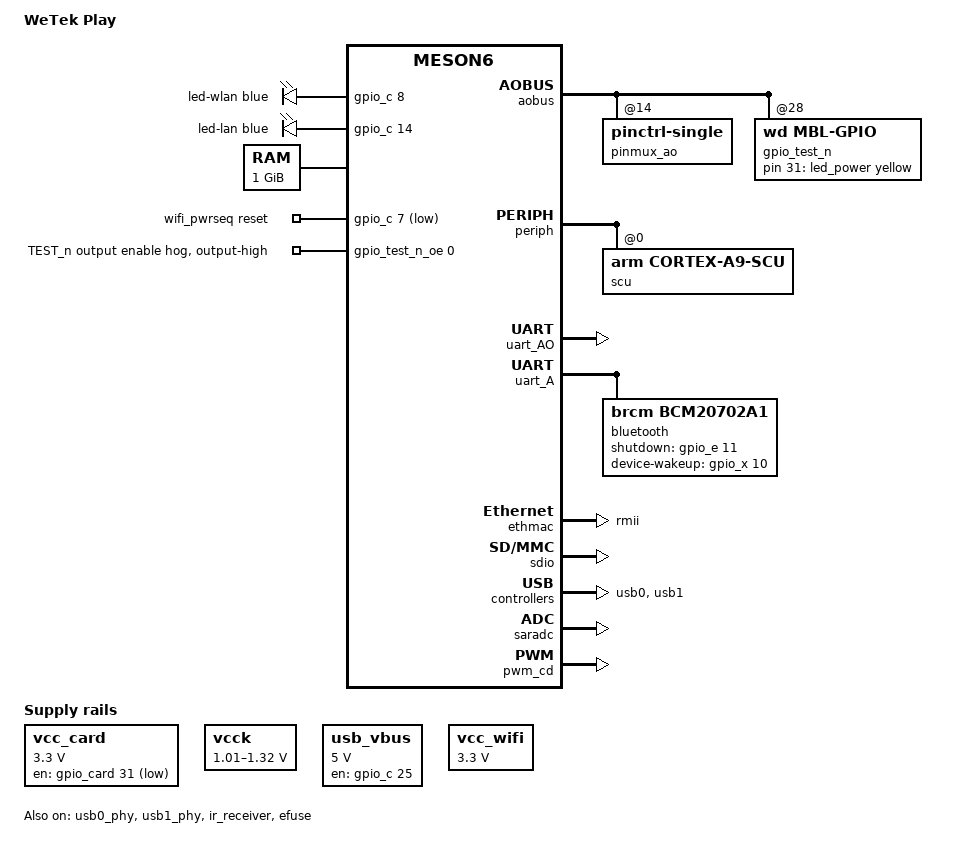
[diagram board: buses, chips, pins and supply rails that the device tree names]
// SPDX-License-Identifier: GPL-2.0 OR MIT
/*
 * WeTek Play (pierwsza wersja, AML8726-MX / Meson6) - minimalny DTS
 * pod mainline 6.12 do pierwszego startu z konsolą szeregową.
 *
 * NIETESTOWANE NA SPRZĘCIE. Dane płytki pochodzą z vendorskiego
 * arch/arm/boot/dts/amlogic/wetek_play.dtd (LibreELEC/linux-amlogic
 * 95ba9d626c0f, jądro 3.10.108).
 *
 * Mainline nie ma dla Meson6 sterownika zegarów ani pinctrl, więc:
 *  - zegary są atrapami (fixed-clock); bramki musi zostawić włączone U-Boot,
 *  - multipleksowanie pinów też zostaje po U-Boocie.
 * Dlatego start najlepiej robić z karty SD: wtedy U-Boot sam ustawia piny
 * i zegar kontrolera SD.
 */

/dts-v1/;
#include <dt-bindings/clock/meson8b-clkc.h>
#include <dt-bindings/gpio/gpio.h>
#include <dt-bindings/leds/common.h>
#include <dt-bindings/reset/amlogic,meson8b-reset.h>
#include <dt-bindings/thermal/thermal.h>
#include "meson6.dtsi"

/ {
	model = "WeTek Play";
	compatible = "wetek,play", "amlogic,meson6";

	aliases {
		led-boot = &led_power;
		led-failsafe = &led_power;
		led-running = &led_power;
		led-upgrade = &led_power;
		serial0 = &uart_AO;
		serial1 = &uart_A;
		ethernet0 = &ethmac;
		mmc0 = &sd_slot;
		mmc1 = &wifi_slot;
	};

	chosen {
		stdout-path = "serial0:115200n8";
	};

	/* Drugi rdzeń: łatka 0002, metoda "amlogic,meson6-smp". */
	cpus {
		enable-method = "amlogic,meson6-smp";

		cpu0: cpu@200 {
			clocks = <&clkc CLKID_CPUCLK>;
			operating-points-v2 = <&cpu_opp_table>;
			clock-latency = <200000>;
			cpu-supply = <&vcck>;
			#cooling-cells = <2>; /* min followed by max */
		};

		cpu1: cpu@201 {
			clocks = <&clkc CLKID_CPUCLK>;
			operating-points-v2 = <&cpu_opp_table>;
			clock-latency = <200000>;
			cpu-supply = <&vcck>;
			#cooling-cells = <2>; /* min followed by max */
		};
	};

	/*
	 * Diody na froncie (vendor: drivers/leds/leds-wetekplay.c): wifi na
	 * GPIOC_8, eth na GPIOC_14, obie świecą stanem wysokim. Power jest
	 * dwukolorowa na pinie TEST_n: stan wysoki = żółta (vendor nazywa ją
	 * "blue"), niski = czerwona - sprawdzone pod Androidem 2026-11-13.
	 */
	leds {
		compatible = "gpio-leds";
		pinctrl-names = "default";
		pinctrl-0 = <&led_pins>;

		led_power: led-power {
			color = <LED_COLOR_ID_YELLOW>;
			function = LED_FUNCTION_POWER;
			gpios = <&gpio_test_n 31 GPIO_ACTIVE_HIGH>;
			default-state = "on";
		};

		led-wlan {
			color = <LED_COLOR_ID_BLUE>;
			function = LED_FUNCTION_WLAN;
			gpios = <&gpio_c 8 GPIO_ACTIVE_HIGH>;
			default-state = "off";
		};

		led-lan {
			color = <LED_COLOR_ID_BLUE>;
			function = LED_FUNCTION_LAN;
			gpios = <&gpio_c 14 GPIO_ACTIVE_HIGH>;
			default-state = "off";
		};
	};

	/*
	 * Czujnik to kanał temperatury SAR ADC bez kalibracji z efuse, więc
	 * progi jak w meson8b.dtsi z zapasem: odczyt może odbiegać o kilka
	 * stopni. Pod pełnym obciążeniem box ma ok. 64 °C.
	 */
	thermal-zones {
		soc-thermal {
			polling-delay-passive = <250>; /* milliseconds */
			polling-delay = <1000>; /* milliseconds */
			thermal-sensors = <&thermal_sensor>;

			trips {
				soc_passive: soc-passive {
					temperature = <80000>; /* millicelsius */
					hysteresis = <2000>; /* millicelsius */
					type = "passive";
				};

				soc_hot: soc-hot {
					temperature = <90000>; /* millicelsius */
					hysteresis = <2000>; /* millicelsius */
					type = "hot";
				};

				soc_critical: soc-critical {
					temperature = <110000>; /* millicelsius */
					hysteresis = <2000>; /* millicelsius */
					type = "critical";
				};
			};

			cooling-maps {
				map0 {
					trip = <&soc_passive>;
					cooling-device = <&cpu0 THERMAL_NO_LIMIT THERMAL_NO_LIMIT>,
							 <&cpu1 THERMAL_NO_LIMIT THERMAL_NO_LIMIT>;
				};

				map1 {
					trip = <&soc_hot>;
					cooling-device = <&cpu0 THERMAL_NO_LIMIT THERMAL_NO_LIMIT>,
							 <&cpu1 THERMAL_NO_LIMIT THERMAL_NO_LIMIT>;
				};
			};
		};
	};

	/*
	 * Częstotliwości i napięcia jak w tabeli dvfs vendora (vendor bierze
	 * napięcie z pierwszego wpisu >= częstotliwości). 400 i 600 MHz to
	 * dzielniki /3 i /2 za PLL-em na 1200 MHz, wyższe stopnie przestawiają
	 * sam PLL (N = 1, M = 32..63, łatka 103). 1416 i 1512 MHz tylko po
	 * włączeniu /sys/devices/system/cpu/cpufreq/boost: vendor 3.10 ogranicza
	 * PLL po cichu do 1320 MHz, więc to trzeba najpierw sprawdzić pod
	 * obciążeniem.
	 */
	cpu_opp_table: opp-table {
		compatible = "operating-points-v2";
		opp-shared;

		opp-400000000 {
			opp-hz = /bits/ 64 <400000000>;
			opp-microvolt = <1010000>;
		};

		opp-600000000 {
			opp-hz = /bits/ 64 <600000000>;
			opp-microvolt = <1010000>;
		};

		opp-792000000 {
			opp-hz = /bits/ 64 <792000000>;
			opp-microvolt = <1010000>;
		};

		opp-984000000 {
			opp-hz = /bits/ 64 <984000000>;
			opp-microvolt = <1110000>;
		};

		opp-1200000000 {
			opp-hz = /bits/ 64 <1200000000>;
			opp-microvolt = <1240000>;
		};

		opp-1320000000 {
			opp-hz = /bits/ 64 <1320000000>;
			opp-microvolt = <1320000>;
		};

		opp-1416000000 {
			opp-hz = /bits/ 64 <1416000000>;
			opp-microvolt = <1320000>;
			turbo-mode;
		};

		opp-1512000000 {
			opp-hz = /bits/ 64 <1512000000>;
			opp-microvolt = <1320000>;
			turbo-mode;
		};
	};

	/* vendor: phys_offset 0x80000000, linux,total-memory 0x40000000 */
	memory@80000000 {
		device_type = "memory";
		reg = <0x80000000 0x40000000>;
	};

	/* Zasilanie karty: CARD_8 (bank GPIO5 bit 31), aktywne stanem niskim. */
	vcc_card: regulator-vcc-card {
		compatible = "regulator-fixed";
		regulator-name = "VCC_CARD";
		regulator-min-microvolt = <3300000>;
		regulator-max-microvolt = <3300000>;
		gpio = <&gpio_card 31 GPIO_ACTIVE_LOW>;
		startup-delay-us = <100000>;
	};

	/*
	 * Napięcie rdzenia CPU (VCCK) ustawiane wypełnieniem PWM_C na GPIOD_0.
	 * Tabela z vendorskiego cs_voltage_table: wartość rejestru PWM to
	 * (hi << 16) | lo przy hi + lo = 28 taktach zegara 24 MHz. Procenty
	 * dobrane tak, żeby sterownik wyliczył dokładnie te same hi (19..4).
	 */
	vcck: regulator-vcck {
		compatible = "pwm-regulator";
		regulator-name = "VCCK";
		pwms = <&pwm_cd 0 1167 0>;
		regulator-min-microvolt = <1010000>;
		regulator-max-microvolt = <1320000>;
		regulator-boot-on;
		regulator-always-on;
		/*
		 * U-Boot nie programuje PWM, więc bez tego rdzeń dostałby na
		 * starcie najniższe napięcie przy pełnej częstotliwości
		 * (łatka 0006). 1,32 V to wartość startowa vendora.
		 */
		regulator-init-microvolt = <1320000>;
		voltage-table = <1010000 68>,
				<1050000 65>,
				<1070000 61>,
				<1090000 58>,
				<1110000 54>,
				<1130000 51>,
				<1150000 47>,
				<1170000 43>,
				<1190000 40>,
				<1210000 36>,
				<1220000 33>,
				<1240000 29>,
				<1270000 26>,
				<1280000 22>,
				<1300000 18>,
				<1320000 15>;
	};

	/*
	 * Zasilanie 5 V gniazd USB: GPIOD_9 = bank GPIO2 bit 25, stan wysoki =
	 * włączone (vendor: gpio-vbus-power przy porcie A). Ta sama linia
	 * zasila gniazdo portu A i gniazda za hubem portu B - sprawdzone na
	 * sprzęcie: przy stanie niskim odłączają się pendrive'y z obu.
	 */
	usb_vbus: regulator-usb-vbus {
		compatible = "regulator-fixed";
		regulator-name = "USB_VBUS";
		regulator-min-microvolt = <5000000>;
		regulator-max-microvolt = <5000000>;
		gpio = <&gpio_c 25 GPIO_ACTIVE_HIGH>;
		enable-active-high;
		regulator-always-on;
	};

	/* Wi-Fi AP6210: zasilanie GPIOC_7 (bank GPIO2 bit 7), wysoki = włączone. */
	wifi_pwrseq: wifi-pwrseq {
		compatible = "mmc-pwrseq-simple";
		reset-gpios = <&gpio_c 7 GPIO_ACTIVE_LOW>;
		post-power-on-delay-ms = <200>;
		/* 32 kHz LPO modułu z CLK_OUT3 (GPIOX_12), id spoza bindingu */
		clocks = <&clkc 250>;
		clock-names = "ext_clock";
	};

	vcc_wifi: regulator-vcc-wifi {
		compatible = "regulator-fixed";
		regulator-name = "VCC_WIFI";
		regulator-min-microvolt = <3300000>;
		regulator-max-microvolt = <3300000>;
		regulator-always-on;
	};
};

/*
 * Rozwiązanie tymczasowe zamiast sterownika pinctrl/GPIO Meson6: ogólne
 * sterowniki jądra na surowych rejestrach (potwierdzone devmem 2026-11-11).
 */
&cbus {
	/* PREG_PAD_GPIO5: EN_N 0x201b, O 0x201c, I 0x201d (rejestr * 4) */
	gpio_card: gpio@8074 {
		compatible = "wd,mbl-gpio";
		reg = <0x8074 0x4>, <0x8070 0x4>, <0x806c 0x4>;
		reg-names = "dat", "set", "dirin";
		#gpio-cells = <2>;
		gpio-controller;
	};

	/* PREG_PAD_GPIO2 (GPIOC): EN_N 0x2012, O 0x2013, I 0x2014 */
	gpio_c: gpio@8050 {
		compatible = "wd,mbl-gpio";
		reg = <0x8050 0x4>, <0x804c 0x4>, <0x8048 0x4>;
		reg-names = "dat", "set", "dirin";
		#gpio-cells = <2>;
		gpio-controller;
	};

	/* PREG_PAD_GPIO4 (GPIOX_0..31): EN_N 0x2018, O 0x2019, I 0x201a */
	gpio_x: gpio@8068 {
		compatible = "wd,mbl-gpio";
		reg = <0x8068 0x4>, <0x8064 0x4>, <0x8060 0x4>;
		reg-names = "dat", "set", "dirin";
		#gpio-cells = <2>;
		gpio-controller;
	};

	/* PREG_PAD_GPIO6 (GPIOE_0..11, GPIOZ): EN_N 0x2008, O 0x2009, I 0x200a */
	gpio_e: gpio@8028 {
		compatible = "wd,mbl-gpio";
		reg = <0x8028 0x4>, <0x8024 0x4>, <0x8020 0x4>;
		reg-names = "dat", "set", "dirin";
		#gpio-cells = <2>;
		gpio-controller;
	};

	/* RESET0..7_REGISTER od 0x1101: ten sam układ co w Meson8b */
	reset: reset-controller@4404 {
		compatible = "amlogic,meson8b-reset";
		reg = <0x4404 0x9c>;
		#reset-cells = <1>;
	};

	/* PERIPHS_PIN_MUX_0..9 od 0x202c, jeden bit na funkcję */
	pinmux: pinmux@80b0 {
		compatible = "pinctrl-single";
		reg = <0x80b0 0x28>;
		#pinctrl-cells = <2>;
		pinctrl-single,bit-per-mux;
		pinctrl-single,register-width = <32>;
		pinctrl-single,function-mask = <0x1>;

		/* SD port B na CARD_0..5: PIN_MUX_2 bity 15..10; SDHC B (7..4) wyłączone */
		sd_b_pins: sd-b-pins {
			pinctrl-single,bits = <0x8 0x0000fc00 0x0000fcf0>;
		};

		/* PWM_C na GPIOD_0: PIN_MUX_2 bit 2, PIN_MUX_1 bit 29 wyłączony */
		pwm_c_pins: pwm-c-pins {
			pinctrl-single,bits = <0x08 0x00000004 0x00000004>,
					      <0x04 0x00000000 0x20000000>;
		};

		/*
		 * SDIO port A na GPIOX_0..3, 8, 9: PIN_MUX_8 bity 5..0 oraz
		 * zegar 32 kHz dla Wi-Fi na GPIOX_12: PIN_MUX_3 bit 21.
		 */
		sdio_a_pins: sdio-a-pins {
			pinctrl-single,bits = <0x20 0x0000003f 0x0000003f>,
					      <0x0c 0x00200000 0x00200000>;
		};

		/*
		 * UART_A na GPIOX_13..16 (TX, RX, CTS, RTS) dla Bluetootha:
		 * PIN_MUX_4 bity 13..10, piny nie mają innych funkcji.
		 */
		uart_a_pins: uart-a-pins {
			pinctrl-single,bits = <0x10 0x00003c00 0x00003c00>;
		};

		/*
		 * Diody jako zwykłe GPIO: GPIOC_8 ma funkcje TCON_6_A (PIN_MUX_0
		 * bit 18), TCON_VCOM (PIN_MUX_1 bit 10) i SPDIF_in (PIN_MUX_3
		 * bit 23) - wszystkie wyłączone. GPIOC_14 nie ma innej funkcji.
		 */
		led_pins: led-pins {
			pinctrl-single,bits = <0x00 0x00000000 0x00040000>,
					      <0x04 0x00000000 0x00000400>,
					      <0x0c 0x00000000 0x00800000>;
		};
	};
};

&aobus {
	/*
	 * AO_RTI_PIN_MUX_REG (vendor: rejestr pinmux nr 10). Tylko bit pilota;
	 * bity UART_AO zostają, jak ustawił je U-Boot.
	 */
	pinmux_ao: pinmux@14 {
		compatible = "pinctrl-single";
		reg = <0x14 0x4>;
		#pinctrl-cells = <2>;
		pinctrl-single,bit-per-mux;
		pinctrl-single,register-width = <32>;
		pinctrl-single,function-mask = <0x1>;

		/* odbiornik IR na GPIOAO_7: bit 0 (vendor: remote_pins) */
		ir_pins: ir-pins {
			pinctrl-single,bits = <0x0 0x00000001 0x00000001>;
		};
	};

	/*
	 * Pin TEST_n (dioda power): wartość w AO_GPIO_O_EN_N (0x24) bit 31,
	 * odczyt w AO_GPIO_I (0x28) bit 31. Pozostałe bity 0x24 to wyjścia
	 * i kierunki pinów GPIOAO; gpio-mmio zapisuje cały rejestr z kopii
	 * odczytanej przy starcie, więc ich nie zmienia.
	 */
	gpio_test_n: gpio@28 {
		compatible = "wd,mbl-gpio";
		reg = <0x28 0x4>, <0x24 0x4>;
		reg-names = "dat", "set";
		#gpio-cells = <2>;
		gpio-controller;
	};
};

&secbus {
	/*
	 * SECBUS2 reg 0 bit 0 przełącza TEST_n w tryb wyjścia (vendor:
	 * SECBUS2_REG_ADDR(0)); pod Androidem rejestr ma 0x00000001.
	 */
	gpio_test_n_oe: gpio@4000 {
		compatible = "wd,mbl-gpio";
		reg = <0x4000 0x4>;
		reg-names = "dat";
		#gpio-cells = <2>;
		gpio-controller;

		test-n-output-hog {
			gpio-hog;
			gpios = <0 GPIO_ACTIVE_HIGH>;
			output-high;
			line-name = "TEST_n output enable";
		};
	};
};

/*
 * SMP: vendor wpisuje adres startu drugiego rdzenia pod AHB SRAM + 0x1ff84
 * i ustawia bit rdzenia w rejestrze + 0x1ff80 (ten sam układ co Meson8).
 */
&ahb_sram {
	smp-sram@1ff80 {
		compatible = "amlogic,meson6-smp-sram";
		reg = <0x1ff80 0x8>;
	};
};

&periph {
	scu@0 {
		compatible = "arm,cortex-a9-scu";
		reg = <0x0 0x100>;
	};

	/*
	 * Prywatny timer każdego rdzenia (TWD), taktowany zegarem CPU / 4.
	 * Zegar musi być opisany, żeby timer przeliczał się przy zmianie
	 * częstotliwości procesora.
	 */
	timer@600 {
		compatible = "arm,cortex-a9-twd-timer";
		reg = <0x600 0x20>;
		interrupts = <GIC_PPI 13 (GIC_CPU_MASK_SIMPLE(2) | IRQ_TYPE_EDGE_RISING)>;
		clocks = <&clkc CLKID_PERIPH>;
	};
};

/*
 * Sterownik zegarów Meson6 (łatka 0004): opisuje PLL-e i zegar CPU tak, jak
 * zostawił je U-Boot (tylko odczyt), i steruje bramkami urządzeń. Identyfikatory
 * zegarów wzięte z bindingu Meson8b.
 */
&hhi {
	clkc: clock-controller {
		compatible = "amlogic,meson6-clkc";
		clocks = <&xtal>;
		clock-names = "xtal";
		#clock-cells = <1>;
	};
};

/* Konsola na złączu RS-232; vendor: uart_ao, 115200 */
&uart_AO {
	status = "okay";
};

/*
 * Bluetooth AP6210 (BCM20710) na UART_A, vendor: bt-dev z gpio_en = GPIOE_11
 * (stan wysoki = włączony) i gpio_wake = GPIOX_10 (na stałe wysoki). Android
 * ładuje BCM20702.hcd i pracuje na 2 Mb/s. Zegar 32 kHz z CLK_OUT3 dzieli
 * z Wi-Fi. Bramka UART_A to CLKID_UART0, bez niej clk_disable_unused
 * wyłączyłby port.
 */
&uart_A {
	pinctrl-names = "default";
	pinctrl-0 = <&uart_a_pins>;
	clocks = <&xtal>, <&clkc CLKID_UART0>, <&clkc CLKID_CLK81>;
	/*
	 * Bez tego meson_uart kasuje CRTSCTS i zostaje w trybie dwóch
	 * przewodów: RTS nie jest wystawiany, a moduł bez CTS nie odpowiada
	 * (hci0: Reset failed -110, sprawdzone 2026-11-13).
	 */
	uart-has-rtscts;
	status = "okay";

	bluetooth {
		compatible = "brcm,bcm20702a1";
		shutdown-gpios = <&gpio_e 11 GPIO_ACTIVE_HIGH>;
		device-wakeup-gpios = <&gpio_x 10 GPIO_ACTIVE_HIGH>;
		clocks = <&clkc 250>;
		clock-names = "lpo";
		max-speed = <2000000>;
		/*
		 * Łata BCM20702A1.hcd ustawia adres 20:70:02:a0:00:00, który
		 * btbcm uznaje za nieważny, a w efuse adresu BT nie ma. To
		 * 22:22:61:14:30:69 (little-endian), który wylosował Android.
		 */
		local-bd-address = [69 30 14 61 22 22];
	};
};

/*
 * Ethernet 10/100, PHY SMSC LAN8720A po RMII.
 * Zegar 50 MHz RMII przychodzi z zewnątrz na pin (vendor: CLK_RMII_FROM_PAD),
 * więc nie wymaga PLL. Piny GPIOY_2..14 (mux reg 6) muszą zostać po U-Boocie.
 * Bez węzła mdio stmmac sam przeszukuje szynę MDIO.
 */
&ethmac {
	status = "okay";
	phy-mode = "rmii";
	clocks = <&clkc CLKID_ETH>;
	clock-names = "stmmaceth";
	nvmem-cells = <&eth_mac>;
	nvmem-cell-names = "mac-address";
};

/*
 * Gniazdo microSD: vendor port = <1> (sdio_b), 4 bity, do 50 MHz.
 * Ten sam kontroler obsługuje też Wi-Fi na porcie A (slot@0); dwa gniazda
 * naraz i nazwę "amlogic,meson6-sdio" daje łatka 0003.
 * Wykrywanie karty: CARD_6 (bit 29), stan niski = karta w gnieździe; bez
 * przerwania, więc jądro odpytuje pin.
 */
&sdio {
	status = "okay";
	pinctrl-names = "default";
	pinctrl-0 = <&sd_b_pins>, <&sdio_a_pins>;
	compatible = "amlogic,meson6-sdio", "amlogic,meson-mx-sdio";
	clocks = <&clkc CLKID_SDIO>, <&clkc CLKID_CLK81>;
	clock-names = "core", "clkin";

	/* Wi-Fi AP6210 (BCM43362): vendor port = <0> (sdio_a) */
	wifi_slot: slot@0 {
		compatible = "mmc-slot";
		reg = <0>;
		bus-width = <4>;
		max-frequency = <50000000>;
		cap-sd-highspeed;
		non-removable;
		disable-wp;
		vmmc-supply = <&vcc_wifi>;
		mmc-pwrseq = <&wifi_pwrseq>;
		#address-cells = <1>;
		#size-cells = <0>;

		wifi@1 {
			compatible = "brcm,bcm4329-fmac";
			reg = <1>;
		};
	};

	sd_slot: slot@1 {
		compatible = "mmc-slot";
		reg = <1>;
		bus-width = <4>;
		max-frequency = <50000000>;
		cap-sd-highspeed;
		cap-mmc-highspeed;
		disable-wp;
		cd-gpios = <&gpio_card 29 GPIO_ACTIVE_LOW>;
		vmmc-supply = <&vcc_card>;
	};
};

/*
 * USB port B (vendor: usb_b, host, za nim hub 4-portowy). PHY ma ten sam
 * układ rejestrów co Meson8 (config/ctrl, fsel, POR), ale:
 *  - leży pod USB_ADDR8 = 0x2108 -> 0x8420 (w Meson8: 0x8820),
 *  - zegar referencyjny trzeba włączyć samemu (łatka 0001, "meson6-usb2-phy").
 * Reset to RESET1 bit 2. Zegary to atrapy: bramki zostawia włączone U-Boot.
 *
 * PHY portu B wykrywa zegar dopiero, gdy PHY portu A (USB_ADDR0 = 0x8400)
 * jest wyjęty z resetu (sprawdzone devmem 2026-11-11), dlatego port A też
 * jest włączony. Jego zasilanie załącza regulator usb_vbus (GPIOD_9).
 */
&usb0_phy {
	compatible = "amlogic,meson6-usb2-phy", "amlogic,meson-mx-usb2-phy";
	reg = <0x8400 0x20>;
	clocks = <&clkc CLKID_USB>, <&clkc CLKID_USB0>;
	clock-names = "usb_general", "usb";
	resets = <&reset RESET_USB_OTG>;
	status = "okay";
};

&usb0 {
	compatible = "amlogic,meson8-usb", "snps,dwc2";
	clocks = <&clkc CLKID_USB0_DDR_BRIDGE>;
	clock-names = "otg";
	status = "okay";
};

&usb1_phy {
	compatible = "amlogic,meson6-usb2-phy", "amlogic,meson-mx-usb2-phy";
	reg = <0x8420 0x20>;
	clocks = <&clkc CLKID_USB>, <&clkc CLKID_USB1>;
	clock-names = "usb_general", "usb";
	resets = <&reset RESET_USB_OTG>;
	status = "okay";
};

&usb1 {
	compatible = "amlogic,meson8-usb", "snps,dwc2";
	clocks = <&clkc CLKID_USB1_DDR_BRIDGE>;
	clock-names = "otg";
	status = "okay";
};

/*
 * Jeszcze nie zrobione:
 *  - NAND 0xc1108600: brak sterownika w mainline.
 */

/* Odbiornik pilota; dekodowanie protokołów robi rc-core w jądrze. */
&ir_receiver {
	pinctrl-names = "default";
	pinctrl-0 = <&ir_pins>;
	status = "okay";
};

/*
 * efuse tylko do odczytu w /sys/bus/nvmem. meson6.dtsi wyłącza go, bo
 * mainline nie miał dla Meson6 zegarów; bramkę daje meson6-clkc.
 * MAC Ethernetu leży jawnie pod 0x1b4, ten sam co mac= od U-Boota
 * (zrzut 2026-11-13; vendorski Android pokazuje go jako efuse/mac).
 */
&efuse {
	clocks = <&clkc CLKID_EFUSE>;
	clock-names = "core";
	status = "okay";

	eth_mac: mac@1b4 {
		reg = <0x1b4 0x6>;
	};
};

/*
 * Przetwornik SAR ADC z czujnikiem temperatury SoC (łatka 0005,
 * "amlogic,meson6-saradc"). Kanał 8 trafia do iio-hwmon z meson.dtsi, więc
 * temperatura jest w /sys/class/hwmon. Przeliczenie wg wzoru vendora, bez
 * kalibracji - traktować jako przybliżone.
 */
&saradc {
	compatible = "amlogic,meson6-saradc", "amlogic,meson-saradc";
	clocks = <&xtal>, <&clkc CLKID_SAR_ADC>;
	clock-names = "clkin", "core";
	status = "okay";
};

/*
 * PWM_C/D. Tylko kwarc jako źródło zegara, żeby wartości rejestru były takie
 * same jak u vendora (28 taktów na okres).
 */
&pwm_cd {
	compatible = "amlogic,meson8-pwm-v2", "amlogic,meson-pwm";
	clocks = <&xtal>, <0>, <0>, <0>;
	pinctrl-names = "default";
	pinctrl-0 = <&pwm_c_pins>;
	status = "okay";
};
